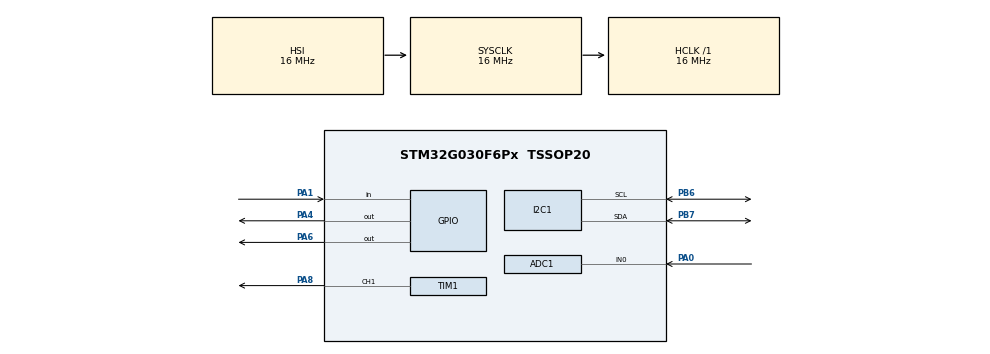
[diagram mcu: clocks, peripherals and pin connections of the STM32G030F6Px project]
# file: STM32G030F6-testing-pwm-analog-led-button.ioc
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ADC1.Channel-0\#ChannelRegularConversion=ADC_CHANNEL_0
ADC1.DiscontinuousConvMode=DISABLE
ADC1.NbrOfConversion=1
ADC1.NbrOfConversionFlag=1
ADC1.Rank-0\#ChannelRegularConversion=1
ADC1.SamplingTime-0\#ChannelRegularConversion=ADC_SAMPLINGTIME_COMMON_1
ADC1.SelectedChannel=ADC_CHANNEL_0
ADC1.master=1
I2C1.Timing=0x00503D58
Mcu.Family=STM32G0
Mcu.Name=STM32G030F6Px
Mcu.Package=TSSOP20
NVIC.FLASH_IRQn=true\:0\:0\:false\:false\:true\:true\:true\:true
NVIC.I2C1_IRQn=true\:0\:0\:false\:false\:true\:true\:true\:true
NVIC.RCC_IRQn=true\:0\:0\:false\:false\:true\:true\:false\:true
NVIC.TIM1_BRK_UP_TRG_COM_IRQn=true\:0\:0\:false\:false\:true\:true\:true\:true
NVIC.TIM1_CC_IRQn=true\:0\:0\:false\:false\:true\:true\:true\:true
NVIC.TIM3_IRQn=true\:0\:0\:false\:false\:true\:true\:true\:true
PA0.Mode=IN0
PA0.Signal=ADC1_IN0
PA1.Signal=GPIO_Input
PA14-BOOT0__PA15.StandardMode=true
PA4.Signal=GPIO_Output
PA6.Signal=GPIO_Output
PA8.Signal=S_TIM1_CH1
PB0__PB1__PB2__PA8.StandardMode=true
PB3__PB4__PB5__PB6.StandardMode=true
PB6.Mode=I2C
PB6.Signal=I2C1_SCL
PB7.Mode=I2C
PB7.Signal=I2C1_SDA
PB7__PB8.StandardMode=true
PC14-OSC32_IN\ (PC14)__PB9.StandardMode=true
ProjectManager.HeapSize=0x200
ProjectManager.StackSize=0x400
ProjectManager.TargetToolchain=STM32CubeIDE
RCC.AHBFreq_Value=16000000
RCC.CortexFreq_Value=16000000
RCC.EXTERNAL_CLOCK_VALUE=12288000
RCC.HCLKFreq_Value=16000000
RCC.HSE_VALUE=8000000
RCC.HSI_VALUE=16000000
RCC.LSE_VALUE=32768
RCC.SYSCLKFreq_VALUE=16000000
RCC.VCOOutputFreq_Value=128000000
SH.S_TIM1_CH1.0=TIM1_CH1,PWM Generation1 CH1
TIM1.AutoReloadPreload=TIM_AUTORELOAD_PRELOAD_ENABLE
TIM1.Channel-PWM\ Generation1\ CH1=TIM_CHANNEL_1
TIM1.Period=999
TIM1.Prescaler=15
TIM3.AutoReloadPreload=TIM_AUTORELOAD_PRELOAD_ENABLE
TIM3.Period=9999
TIM3.Prescaler=15
VP_TIM1_VS_ClockSourceINT.Mode=Internal
VP_TIM3_VS_ClockSourceINT.Mode=Internal
board=custom

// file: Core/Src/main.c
/* USER CODE BEGIN Header */
/**
  ******************************************************************************
  * @file           : main.c
  * @brief          : Main program body
  ******************************************************************************
  * @attention
  *
  * Copyright (c) 2026 STMicroelectronics.
  * All rights reserved.
  *
  * This software is licensed under terms that can be found in the LICENSE file
  * in the root directory of this software component.
  * If no LICENSE file comes with this software, it is provided AS-IS.
  *
  ******************************************************************************
  */
/* USER CODE END Header */
#include "main.h"

/* USER CODE BEGIN Includes */
#include "aht21.h"
/* USER CODE END Includes */

ADC_HandleTypeDef hadc1;

I2C_HandleTypeDef hi2c1;

TIM_HandleTypeDef htim1;
TIM_HandleTypeDef htim3;

/* USER CODE BEGIN PV */
uint8_t buttonState= 0;
volatile uint8_t tim3_flag = 0;
volatile uint16_t tim3_counter = 0;
volatile uint16_t LEDcounter= 0;
volatile uint32_t duty= 0;
extern I2C_HandleTypeDef hi2c1;
volatile uint8_t sensorReading= 0;
volatile float t= 0;
volatile float h= 0;
/* USER CODE END PV */

void SystemClock_Config(void);
static void MX_GPIO_Init(void);
static void MX_ADC1_Init(void);
static void MX_TIM1_Init(void);
static void MX_TIM3_Init(void);
static void MX_I2C1_Init(void);
/* USER CODE BEGIN PFP */

AHT21_t aht21;
/* USER CODE END PFP */

int main(void)
{

  /* MCU Configuration--------------------------------------------------------*/

  /* Reset of all peripherals, Initializes the Flash interface and the Systick. */
  HAL_Init();

  /* USER CODE BEGIN Init */
  HAL_Delay(120);   // AHT21B power-up stabilization time

  /* USER CODE END Init */

  /* Configure the system clock */
  SystemClock_Config();

  /* Initialize all configured peripherals */
  MX_GPIO_Init();
  MX_ADC1_Init();
  MX_TIM1_Init();
  MX_TIM3_Init();
  MX_I2C1_Init();
  /* USER CODE BEGIN 2 */
  HAL_TIM_Base_Start_IT(&htim3);
  HAL_TIM_PWM_Start(&htim1, TIM_CHANNEL_1);
  HAL_NVIC_SetPriority(TIM3_IRQn, 0, 0);
  HAL_NVIC_EnableIRQ(TIM3_IRQn);

  /* USER CODE END 2 */

  /* Infinite loop */
  while (1)
  {

    /* USER CODE BEGIN 3 */

	  // this is the button reading
	  if (HAL_GPIO_ReadPin(GPIOA, GPIO_PIN_1) == GPIO_PIN_SET)
	          {
		  	  	  buttonState= 1; // Turns the blinking of LED2 (PA6) ON
	          }else{
	        	  buttonState= 0;
	          }

	  // this is the interrupt-following part of the code
	  if(tim3_flag == 1){
		  tim3_flag= 0;
		  tim3_counter++;
		  LEDcounter++;
		  sensorReading++;

		  if (tim3_counter >= 10)   // 10 × 10ms = 100ms
		  {
			tim3_counter = 0;

			  // --- Read ADC ---
			  HAL_ADC_Start(&hadc1);
			  HAL_ADC_PollForConversion(&hadc1, 10);
			  uint16_t adc_value = HAL_ADC_GetValue(&hadc1); // 0–4095

			  // --- Apply PWM ---
			  // Scale 12-bit ADC to 0–999 (TIM1 ARR)
			  duty = (adc_value * 1000) / 4096;

			  __HAL_TIM_SET_COMPARE(&htim1, TIM_CHANNEL_1, duty);
		  }
		  if(LEDcounter > 19){
			LEDcounter= 0;
			HAL_GPIO_TogglePin(GPIOA, GPIO_PIN_4);
			if(buttonState == 1){
				HAL_GPIO_TogglePin(GPIOA, GPIO_PIN_6);
			}else{
				HAL_GPIO_WritePin(GPIOA, GPIO_PIN_6, GPIO_PIN_RESET);
			}
		  }
		  if(sensorReading > 99){
			  sensorReading= 0;
			  AHT21_StartMeasurement(&hi2c1, &aht21);
			  // Process state machine

		  }

		  AHT21_Process(&hi2c1, &aht21);
		  if (aht21.state == AHT21_STATE_IDLE)
			  {
				  t = aht21.temperature;
				  h = aht21.humidity;

			  }

	  }
  }
  /* USER CODE END 3 */
}

void SystemClock_Config(void)
{
  RCC_OscInitTypeDef RCC_OscInitStruct = {0};
  RCC_ClkInitTypeDef RCC_ClkInitStruct = {0};

  /** Configure the main internal regulator output voltage
  */
  HAL_PWREx_ControlVoltageScaling(PWR_REGULATOR_VOLTAGE_SCALE1);

  /** Initializes the RCC Oscillators according to the specified parameters
  * in the RCC_OscInitTypeDef structure.
  */
  RCC_OscInitStruct.OscillatorType = RCC_OSCILLATORTYPE_HSI;
  RCC_OscInitStruct.HSIState = RCC_HSI_ON;
  RCC_OscInitStruct.HSIDiv = RCC_HSI_DIV1;
  RCC_OscInitStruct.HSICalibrationValue = RCC_HSICALIBRATION_DEFAULT;
  RCC_OscInitStruct.PLL.PLLState = RCC_PLL_NONE;
  if (HAL_RCC_OscConfig(&RCC_OscInitStruct) != HAL_OK)
  {
    Error_Handler();
  }

  /** Initializes the CPU, AHB and APB buses clocks
  */
  RCC_ClkInitStruct.ClockType = RCC_CLOCKTYPE_HCLK|RCC_CLOCKTYPE_SYSCLK
                              |RCC_CLOCKTYPE_PCLK1;
  RCC_ClkInitStruct.SYSCLKSource = RCC_SYSCLKSOURCE_HSI;
  RCC_ClkInitStruct.AHBCLKDivider = RCC_SYSCLK_DIV1;
  RCC_ClkInitStruct.APB1CLKDivider = RCC_HCLK_DIV1;

  if (HAL_RCC_ClockConfig(&RCC_ClkInitStruct, FLASH_LATENCY_0) != HAL_OK)
  {
    Error_Handler();
  }
}

static void MX_ADC1_Init(void)
{

  ADC_ChannelConfTypeDef sConfig = {0};

  /** Configure the global features of the ADC (Clock, Resolution, Data Alignment and number of conversion)
  */
  hadc1.Instance = ADC1;
  hadc1.Init.ClockPrescaler = ADC_CLOCK_SYNC_PCLK_DIV2;
  hadc1.Init.Resolution = ADC_RESOLUTION_12B;
  hadc1.Init.DataAlign = ADC_DATAALIGN_RIGHT;
  hadc1.Init.ScanConvMode = ADC_SCAN_DISABLE;
  hadc1.Init.EOCSelection = ADC_EOC_SINGLE_CONV;
  hadc1.Init.LowPowerAutoWait = DISABLE;
  hadc1.Init.LowPowerAutoPowerOff = DISABLE;
  hadc1.Init.ContinuousConvMode = DISABLE;
  hadc1.Init.NbrOfConversion = 1;
  hadc1.Init.DiscontinuousConvMode = DISABLE;
  hadc1.Init.ExternalTrigConv = ADC_SOFTWARE_START;
  hadc1.Init.ExternalTrigConvEdge = ADC_EXTERNALTRIGCONVEDGE_NONE;
  hadc1.Init.DMAContinuousRequests = DISABLE;
  hadc1.Init.Overrun = ADC_OVR_DATA_PRESERVED;
  hadc1.Init.SamplingTimeCommon1 = ADC_SAMPLETIME_1CYCLE_5;
  hadc1.Init.SamplingTimeCommon2 = ADC_SAMPLETIME_1CYCLE_5;
  hadc1.Init.OversamplingMode = DISABLE;
  hadc1.Init.TriggerFrequencyMode = ADC_TRIGGER_FREQ_HIGH;
  if (HAL_ADC_Init(&hadc1) != HAL_OK)
  {
    Error_Handler();
  }

  /** Configure Regular Channel
  */
  sConfig.Channel = ADC_CHANNEL_0;
  sConfig.Rank = ADC_REGULAR_RANK_1;
  sConfig.SamplingTime = ADC_SAMPLINGTIME_COMMON_1;
  if (HAL_ADC_ConfigChannel(&hadc1, &sConfig) != HAL_OK)
  {
    Error_Handler();
  }

}

static void MX_I2C1_Init(void)
{

  hi2c1.Instance = I2C1;
  hi2c1.Init.Timing = 0x00503D58;
  hi2c1.Init.OwnAddress1 = 0;
  hi2c1.Init.AddressingMode = I2C_ADDRESSINGMODE_7BIT;
  hi2c1.Init.DualAddressMode = I2C_DUALADDRESS_DISABLE;
  hi2c1.Init.OwnAddress2 = 0;
  hi2c1.Init.OwnAddress2Masks = I2C_OA2_NOMASK;
  hi2c1.Init.GeneralCallMode = I2C_GENERALCALL_DISABLE;
  hi2c1.Init.NoStretchMode = I2C_NOSTRETCH_DISABLE;
  if (HAL_I2C_Init(&hi2c1) != HAL_OK)
  {
    Error_Handler();
  }

  /** Configure Analogue filter
  */
  if (HAL_I2CEx_ConfigAnalogFilter(&hi2c1, I2C_ANALOGFILTER_ENABLE) != HAL_OK)
  {
    Error_Handler();
  }

  /** Configure Digital filter
  */
  if (HAL_I2CEx_ConfigDigitalFilter(&hi2c1, 0) != HAL_OK)
  {
    Error_Handler();
  }

}

static void MX_TIM1_Init(void)
{

  TIM_ClockConfigTypeDef sClockSourceConfig = {0};
  TIM_MasterConfigTypeDef sMasterConfig = {0};
  TIM_OC_InitTypeDef sConfigOC = {0};
  TIM_BreakDeadTimeConfigTypeDef sBreakDeadTimeConfig = {0};

  htim1.Instance = TIM1;
  htim1.Init.Prescaler = 15;
  htim1.Init.CounterMode = TIM_COUNTERMODE_UP;
  htim1.Init.Period = 999;
  htim1.Init.ClockDivision = TIM_CLOCKDIVISION_DIV1;
  htim1.Init.RepetitionCounter = 0;
  htim1.Init.AutoReloadPreload = TIM_AUTORELOAD_PRELOAD_ENABLE;
  if (HAL_TIM_Base_Init(&htim1) != HAL_OK)
  {
    Error_Handler();
  }
  sClockSourceConfig.ClockSource = TIM_CLOCKSOURCE_INTERNAL;
  if (HAL_TIM_ConfigClockSource(&htim1, &sClockSourceConfig) != HAL_OK)
  {
    Error_Handler();
  }
  if (HAL_TIM_PWM_Init(&htim1) != HAL_OK)
  {
    Error_Handler();
  }
  sMasterConfig.MasterOutputTrigger = TIM_TRGO_RESET;
  sMasterConfig.MasterOutputTrigger2 = TIM_TRGO2_RESET;
  sMasterConfig.MasterSlaveMode = TIM_MASTERSLAVEMODE_DISABLE;
  if (HAL_TIMEx_MasterConfigSynchronization(&htim1, &sMasterConfig) != HAL_OK)
  {
    Error_Handler();
  }
  sConfigOC.OCMode = TIM_OCMODE_PWM1;
  sConfigOC.Pulse = 0;
  sConfigOC.OCPolarity = TIM_OCPOLARITY_HIGH;
  sConfigOC.OCNPolarity = TIM_OCNPOLARITY_HIGH;
  sConfigOC.OCFastMode = TIM_OCFAST_DISABLE;
  sConfigOC.OCIdleState = TIM_OCIDLESTATE_RESET;
  sConfigOC.OCNIdleState = TIM_OCNIDLESTATE_RESET;
  if (HAL_TIM_PWM_ConfigChannel(&htim1, &sConfigOC, TIM_CHANNEL_1) != HAL_OK)
  {
    Error_Handler();
  }
  sBreakDeadTimeConfig.OffStateRunMode = TIM_OSSR_DISABLE;
  sBreakDeadTimeConfig.OffStateIDLEMode = TIM_OSSI_DISABLE;
  sBreakDeadTimeConfig.LockLevel = TIM_LOCKLEVEL_OFF;
  sBreakDeadTimeConfig.DeadTime = 0;
  sBreakDeadTimeConfig.BreakState = TIM_BREAK_DISABLE;
  sBreakDeadTimeConfig.BreakPolarity = TIM_BREAKPOLARITY_HIGH;
  sBreakDeadTimeConfig.BreakFilter = 0;
  sBreakDeadTimeConfig.BreakAFMode = TIM_BREAK_AFMODE_INPUT;
  sBreakDeadTimeConfig.Break2State = TIM_BREAK2_DISABLE;
  sBreakDeadTimeConfig.Break2Polarity = TIM_BREAK2POLARITY_HIGH;
  sBreakDeadTimeConfig.Break2Filter = 0;
  sBreakDeadTimeConfig.Break2AFMode = TIM_BREAK_AFMODE_INPUT;
  sBreakDeadTimeConfig.AutomaticOutput = TIM_AUTOMATICOUTPUT_DISABLE;
  if (HAL_TIMEx_ConfigBreakDeadTime(&htim1, &sBreakDeadTimeConfig) != HAL_OK)
  {
    Error_Handler();
  }
  HAL_TIM_MspPostInit(&htim1);

}

static void MX_TIM3_Init(void)
{

  TIM_ClockConfigTypeDef sClockSourceConfig = {0};
  TIM_MasterConfigTypeDef sMasterConfig = {0};

  htim3.Instance = TIM3;
  htim3.Init.Prescaler = 15;
  htim3.Init.CounterMode = TIM_COUNTERMODE_UP;
  htim3.Init.Period = 9999;
  htim3.Init.ClockDivision = TIM_CLOCKDIVISION_DIV1;
  htim3.Init.AutoReloadPreload = TIM_AUTORELOAD_PRELOAD_ENABLE;
  if (HAL_TIM_Base_Init(&htim3) != HAL_OK)
  {
    Error_Handler();
  }
  sClockSourceConfig.ClockSource = TIM_CLOCKSOURCE_INTERNAL;
  if (HAL_TIM_ConfigClockSource(&htim3, &sClockSourceConfig) != HAL_OK)
  {
    Error_Handler();
  }
  sMasterConfig.MasterOutputTrigger = TIM_TRGO_RESET;
  sMasterConfig.MasterSlaveMode = TIM_MASTERSLAVEMODE_DISABLE;
  if (HAL_TIMEx_MasterConfigSynchronization(&htim3, &sMasterConfig) != HAL_OK)
  {
    Error_Handler();
  }

}

static void MX_GPIO_Init(void)
{
  GPIO_InitTypeDef GPIO_InitStruct = {0};

  /* GPIO Ports Clock Enable */
  __HAL_RCC_GPIOB_CLK_ENABLE();
  __HAL_RCC_GPIOA_CLK_ENABLE();

  /*Configure GPIO pin Output Level */
  HAL_GPIO_WritePin(GPIOA, GPIO_PIN_4|GPIO_PIN_6, GPIO_PIN_RESET);

  /*Configure GPIO pin : PA1 */
  GPIO_InitStruct.Pin = GPIO_PIN_1;
  GPIO_InitStruct.Mode = GPIO_MODE_INPUT;
  GPIO_InitStruct.Pull = GPIO_NOPULL;
  HAL_GPIO_Init(GPIOA, &GPIO_InitStruct);

  /*Configure GPIO pins : PA4 PA6 */
  GPIO_InitStruct.Pin = GPIO_PIN_4|GPIO_PIN_6;
  GPIO_InitStruct.Mode = GPIO_MODE_OUTPUT_PP;
  GPIO_InitStruct.Pull = GPIO_NOPULL;
  GPIO_InitStruct.Speed = GPIO_SPEED_FREQ_LOW;
  HAL_GPIO_Init(GPIOA, &GPIO_InitStruct);

}

/* USER CODE BEGIN 4 */
void HAL_TIM_PeriodElapsedCallback(TIM_HandleTypeDef *htim)
{
    if (htim->Instance == TIM3)
    {
    	tim3_flag= 1; // allows the interrupt-following code in the main
    					// loop to execute
    }
}
void HAL_I2C_ErrorCallback(I2C_HandleTypeDef *hi2c)
{
    extern AHT21_t aht21;
    aht21.last_error = HAL_I2C_GetError(hi2c); // this shows us the last i2c error
    											// (if any)
}
/* USER CODE END 4 */

void Error_Handler(void)
{
  __disable_irq();
  while (1)
  {
  }
}
